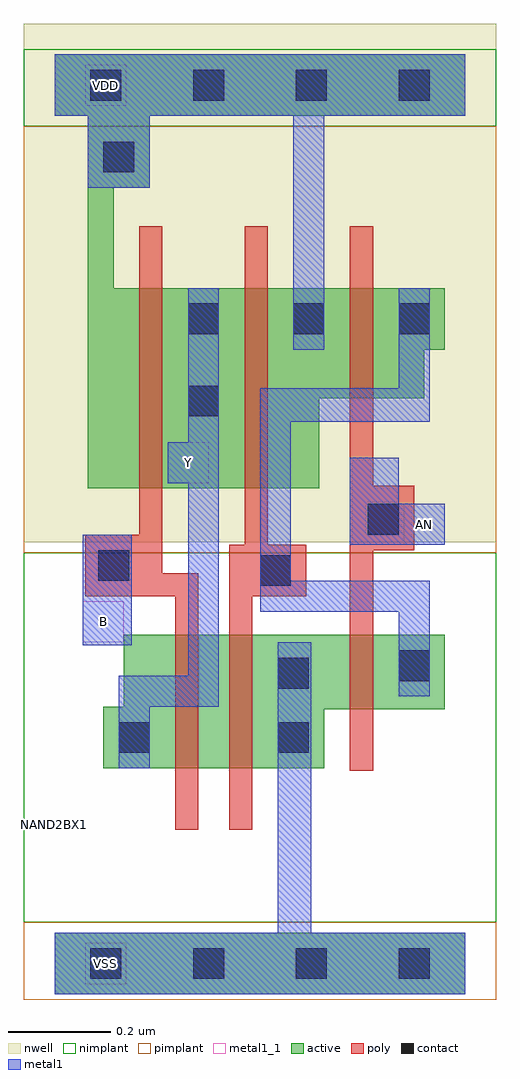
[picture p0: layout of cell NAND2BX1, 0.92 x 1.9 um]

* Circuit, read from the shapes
.subckt NAND2BX1 AN B VDD VSS Y
M1 n1 B Y VSS nfet w=0.26u l=0.045u
M2 VSS n2 n1 VSS nfet w=0.26u l=0.045u
M3 n2 AN VSS VSS nfet w=0.145u l=0.045u
M4 Y B VDD VDD pfet w=0.39u l=0.045u
M5 VDD n2 Y VDD pfet w=0.39u l=0.045u
M6 n2 AN VDD VDD pfet w=0.215u l=0.045u
.ends

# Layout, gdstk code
import gdstk
lib = gdstk.Library(unit=1e-6, precision=5e-10)
def R(c, l, rs):  # rectangles x0, y0, x1, y1
    for r in rs: c.add(gdstk.rectangle(r[:2], r[2:], *l))
def A(c, l, x, y, w, h, nx, ny, dx, dy):  # array of equal rectangles
    R(c, l, [(x+i*dx, y+j*dy, x+i*dx+w, y+j*dy+h) for i in range(nx) for j in range(ny)])
def P(c, l, *ps):  # polygons
    for p in ps: c.add(gdstk.Polygon(p, *l))
active = (1, 0)
nwell = (2, 0)
poly = (3, 0)
nimplant = (4, 0)
pimplant = (5, 0)
contact = (6, 0)
metal1 = (7, 0)
metal1_1 = (7, 1)

nand2bx1 = lib.new_cell('NAND2BX1')
R(nand2bx1, active, [(0,-0.06,0.8,0.06)])
P(nand2bx1, active, [(0.8,1.77),(0,1.77),(0,1.65),(0.065,1.65),(0.065,0.925),(0.515,0.925),(0.515,1.1),(0.72,1.1),(0.72,1.195),(0.76,1.195),(0.76,1.315),(0.115,1.315),(0.115,1.51),(0.185,1.51),(0.185,1.65),(0.8,1.65)],
  [(0.76,0.64),(0.135,0.64),(0.135,0.5),(0.095,0.5),(0.095,0.38),(0.525,0.38),(0.525,0.495),(0.76,0.495)])
R(nand2bx1, nwell, [(-0.06,0.82,0.86,1.83)])
P(nand2bx1, poly, [(0.7,0.93),(0.62,0.93),(0.62,1.435),(0.575,1.435),(0.575,0.375),(0.62,0.375),(0.62,0.805),(0.7,0.805)],
  [(0.49,0.815),(0.415,0.815),(0.415,1.435),(0.37,1.435),(0.37,0.815),(0.34,0.815),(0.34,0.26),(0.385,0.26),(0.385,0.715),(0.49,0.715)],
  [(0.28,0.76),(0.21,0.76),(0.21,1.435),(0.165,1.435),(0.165,0.835),(0.06,0.835),(0.06,0.715),(0.235,0.715),(0.235,0.26),(0.28,0.26)])
R(nand2bx1, nimplant, [(-0.06,0.08,0.86,0.8), (-0.06,1.63,0.86,1.78)])
R(nand2bx1, pimplant, [(-0.06,-0.07,0.86,0.08), (-0.06,0.8,0.86,1.63)])
A(nand2bx1, contact, 0.07, -0.03, 0.06, 0.06, 4, 2, 0.2, 1.71)
A(nand2bx1, contact, 0.26, 1.225, 0.06, 0.06, 3, 1, 0.205, 0)
R(nand2bx1, contact, [(0.125,0.41,0.185,0.47), (0.435,0.41,0.495,0.47), (0.435,0.535,0.495,0.595), (0.67,0.55,0.73,0.61), (0.4,0.735,0.46,0.795), (0.085,0.745,0.145,0.805), (0.61,0.835,0.67,0.895), (0.26,1.065,0.32,1.125), (0.095,1.54,0.155,1.6)])
R(nand2bx1, metal1, [(0.055,0.62,0.15,0.835)])
P(nand2bx1, metal1, [(0.8,0.06),(0.5,0.06),(0.5,0.625),(0.435,0.625),(0.435,0.06),(0,0.06),(0,-0.06),(0.8,-0.06)],
  [(0.8,1.77),(0,1.77),(0,1.65),(0.065,1.65),(0.065,1.51),(0.185,1.51),(0.185,1.65),(0.465,1.65),(0.465,1.195),(0.525,1.195),(0.525,1.65),(0.8,1.65)],
  [(0.76,0.895),(0.67,0.895),(0.67,0.985),(0.575,0.985),(0.575,0.815),(0.76,0.815)],
  [(0.73,0.745),(0.46,0.745),(0.46,1.055),(0.73,1.055),(0.73,1.315),(0.67,1.315),(0.67,1.12),(0.4,1.12),(0.4,0.685),(0.67,0.685),(0.67,0.52),(0.73,0.52)],
  [(0.32,1.315),(0.26,1.315),(0.26,1.015),(0.22,1.015),(0.22,0.935),(0.26,0.935),(0.26,0.56),(0.125,0.56),(0.125,0.38),(0.185,0.38),(0.185,0.5),(0.32,0.5)])
R(nand2bx1, metal1_1, [(0.06,-0.04,0.14,0.04), (0.055,0.625,0.135,0.705), (0.68,0.815,0.76,0.895), (0.22,0.935,0.3,1.015), (0.06,1.67,0.14,1.75)])
nand2bx1.add(gdstk.Label('Y', (0.26,0.975), layer=7, texttype=1))
nand2bx1.add(gdstk.Label('VSS', (0.1,0), layer=7, texttype=1))
nand2bx1.add(gdstk.Label('AN', (0.72,0.855), layer=7, texttype=1))
nand2bx1.add(gdstk.Label('VDD', (0.1,1.71), layer=7, texttype=1))
nand2bx1.add(gdstk.Label('B', (0.095,0.665), layer=7, texttype=1))
nand2bx1.add(gdstk.Label('NAND2BX1', (0,0.27), layer=63, texttype=0))

lib.write_gds('NAND2BX1.gds')
